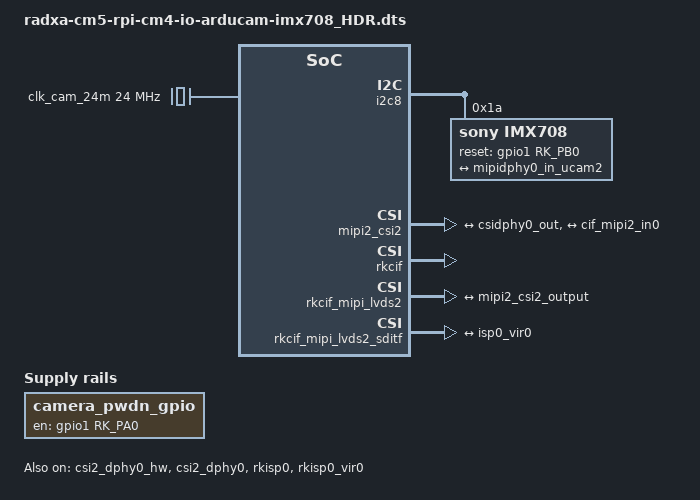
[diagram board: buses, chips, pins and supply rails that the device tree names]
/dts-v1/;
/plugin/;

#include <dt-bindings/power/rk3588-power.h>
#include <dt-bindings/gpio/gpio.h>
#include <dt-bindings/pinctrl/rockchip.h>

/ {
	metadata {
		title ="Enable Arducam Camera IMX708 HDR";
		compatible = "radxa,cm5-rpi-cm4-io";
		category = "camera";
		exclusive = "csi2_dphy0";
		description = "Enable Arducam Camera IMX708 HDR on CAM0.";
	};


	fragment@0 {
		target-path = "/";

		__overlay__ {
			camera_pwdn_gpio: camera-pwdn-gpio {
				compatible = "regulator-fixed";
				regulator-name = "camera_pwdn_gpio";
				regulator-always-on;
				regulator-boot-on;
				enable-active-high;
				gpio = <&gpio1 RK_PA0 GPIO_ACTIVE_HIGH>;
				pinctrl-names = "default";
				pinctrl-0 = <&cam_pwdn_gpio>;
			};

			clk_cam_24m: external-camera-clock-24m {
				compatible = "fixed-clock";
				clock-frequency = <24000000>;
				clock-output-names = "clk_cam_24m";
				#clock-cells = <0>;
			};
		};
	};

	fragment@1 {
		target = <&i2c8>;

		__overlay__ {
			status = "okay";
            pinctrl-0 = <&i2c8m2_xfer>;
			#address-cells = <1>;
			#size-cells = <0>;

			imx708: imx708@1a {
				compatible = "sony,imx708";
				reg = <0x1a>;

				clocks = <&clk_cam_24m>;
				clock-names = "xclk";
				power-domains = <&power RK3588_PD_VI>;
				reset-gpios = <&gpio1 RK_PB0 GPIO_ACTIVE_HIGH>;
				rockchip,camera-module-index = <0>;
				rockchip,camera-module-facing = "back";
				rockchip,camera-module-name = "arducam-imx708";
				rockchip,camera-module-lens-name = "hdr";
				rockchip,camera-hdr-mode = <6>;

				port {
					imx708_out0: endpoint {
						remote-endpoint = <&mipidphy0_in_ucam2>;
						data-lanes = <1 2>;
						link-frequencies = /bits/ 64 <450000000>;
					};
				};
			};
		};
	};

	fragment@2 {
		target = <&csi2_dphy0_hw>;

		__overlay__ {
			status = "okay";
		};
	};

	fragment@3 {
		target = <&csi2_dphy0>;

		__overlay__ {
			status = "okay";

			ports {
				#address-cells = <1>;
				#size-cells = <0>;

				port@0 {
					reg = <0>;
					#address-cells = <1>;
					#size-cells = <0>;

					mipidphy0_in_ucam2: endpoint@3 {
						reg = <3>;
						remote-endpoint = <&imx708_out0>;
						data-lanes = <1 2>;
					};
				};

				port@1 {
					reg = <1>;
					#address-cells = <1>;
					#size-cells = <0>;

					csidphy0_out: endpoint@0 {
						reg = <0>;
						remote-endpoint = <&mipi2_csi2_input>;
					};
				};
			};
		};
	};

	fragment@4 {
		target = <&mipi2_csi2>;

		__overlay__ {
			status = "okay";

			ports {
				#address-cells = <1>;
				#size-cells = <0>;

				port@0 {
					reg = <0>;
					#address-cells = <1>;
					#size-cells = <0>;

					mipi2_csi2_input: endpoint@1 {
						reg = <1>;
						remote-endpoint = <&csidphy0_out>;
					};
				};

				port@1 {
					reg = <1>;
					#address-cells = <1>;
					#size-cells = <0>;

					mipi2_csi2_output: endpoint@0 {
						reg = <0>;
						remote-endpoint = <&cif_mipi2_in0>;
					};
				};
			};
		};
	};

	fragment@5 {
		target = <&rkcif>;

		__overlay__ {
			status = "okay";
		};
	};

	fragment@6 {
		target = <&rkcif_mipi_lvds2>;

		__overlay__ {
			status = "okay";

			port {
				cif_mipi2_in0: endpoint {
					remote-endpoint = <&mipi2_csi2_output>;
				};
			};
		};
	};

	fragment@7 {
		target = <&rkcif_mipi_lvds2_sditf>;

		__overlay__ {
			status = "okay";

			port {
				mipi_lvds2_sditf: endpoint {
					remote-endpoint = <&isp0_vir0>;
				};
			};
		};
	};

	fragment@8 {
		target = <&rkcif_mmu>;

		__overlay__ {
			status = "okay";
		};
	};

	fragment@9 {
		target = <&isp0_mmu>;

		__overlay__ {
			status = "okay";
		};
	};

	fragment@10 {
		target = <&rkisp0>;

		__overlay__ {
			status = "okay";
		};
	};

	fragment@11 {
		target = <&rkisp0_vir0>;

		__overlay__ {
			status = "okay";

			port {
				#address-cells = <1>;
				#size-cells = <0>;

				isp0_vir0: endpoint@0 {
					reg = <0>;
					remote-endpoint = <&mipi_lvds2_sditf>;
				};
			};
		};
	};

	fragment@12 {
		target = <&pinctrl>;

		__overlay__ {
			camera {
				cam_pwdn_gpio: cam-pwdn-gpio {
					rockchip,pins = <1 RK_PA0 RK_FUNC_GPIO &pcfg_pull_up>;
				};
			};
		};
	};
};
